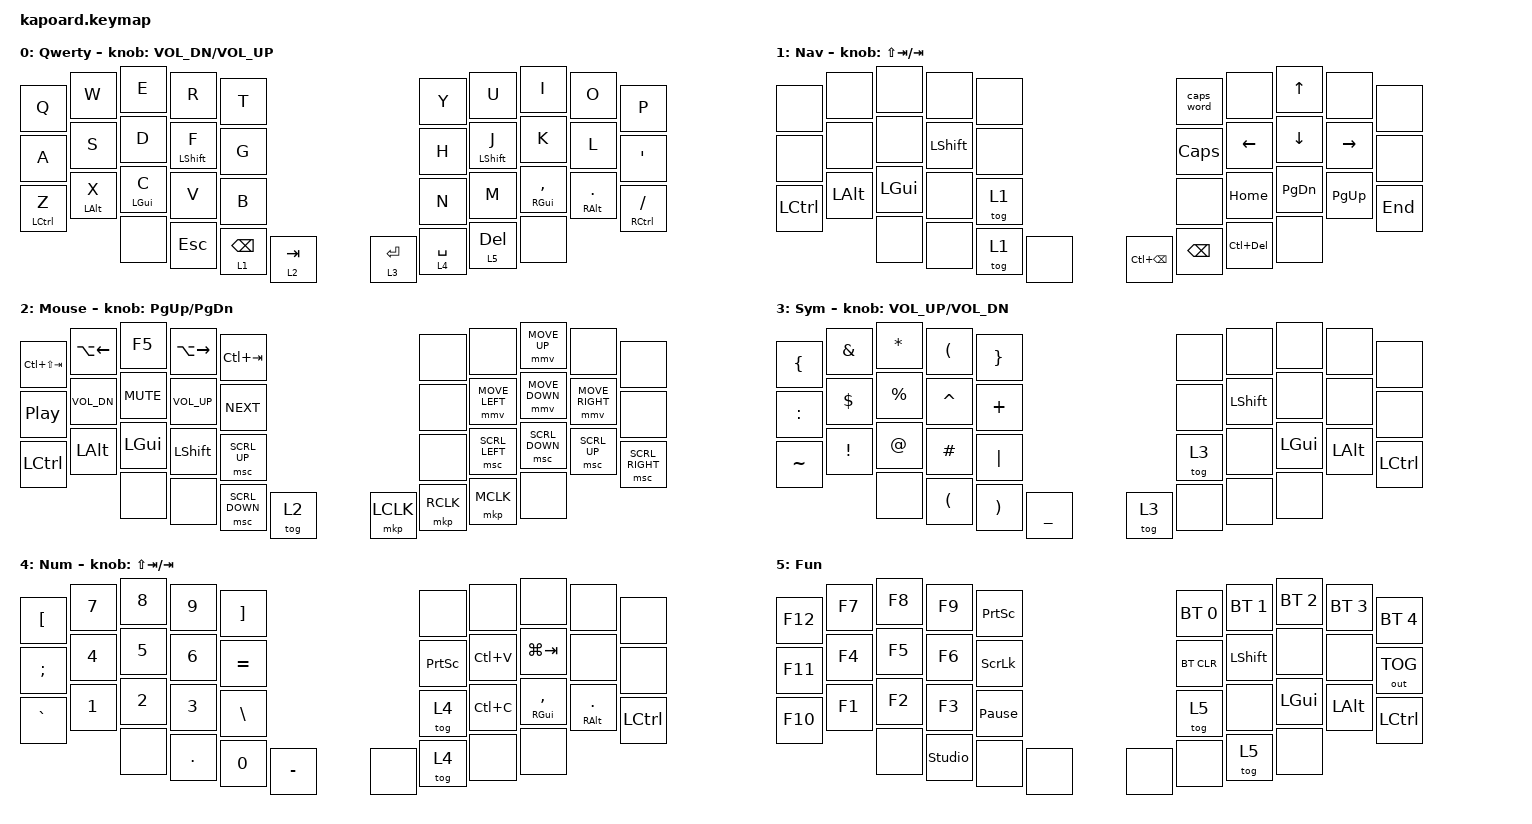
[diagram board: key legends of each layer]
/*
 * Copyright (c) 2020 The ZMK Contributors
 * SPDX-License-Identifier: MIT
 *
 * This is a QWERTY keymap for the Kapoard keyboard.
 * Last edited by Hans Lenze Kaper, 2025-01-02.
 */

#define ZMK_POINTING_DEFAULT_MOVE_VAL 1100  // default: 600
#define ZMK_POINTING_DEFAULT_SCRL_VAL 20    // default: 10

#include <behaviors.dtsi>
#include <dt-bindings/zmk/keys.h>
#include <dt-bindings/zmk/bt.h>
#include <dt-bindings/zmk/outputs.h>
#include <dt-bindings/zmk/pointing.h>

/*
 * 0  1  2  3  4       5  6  7  8  9
 * Q  W  E  R  T       Y  U  I  O  P
 * 
 * 10 11 12 13 14      15 16 17 18 19
 * A  S  D  F  G       H  J  K  L  ;
 * 
 * 20 21 22 23 24      25 26 27 28 29
 * Z  X  C  V  B       N  M  ,  .  /
 */

 / {
    combos {
        compatible = "zmk,combos";

        capsword {
            layers = <0>;
            timeout-ms = <50>;
            key-positions = <11 12 17 18>;
            bindings = <&caps_word>;
        };
        combo_esc {
            layers = <0>;
            timeout-ms = <25>;
            key-positions = <0 1>;
            bindings = <&kp ESC>;
        };
        combo_lshift {
            layers = <0>;
            timeout-ms = <25>;
            key-positions = <11 12>;
            bindings = <&sk LSHIFT>;
        };
        combo_rshift {
            layers = <0>;
            timeout-ms = <25>;
            key-positions = <17 18>;
            bindings = <&sk RSHIFT>;
        };
        combo_mouselayer {
            layers = <0 2>;
            timeout-ms = <25>;
            key-positions = <3 4>;
            bindings = <&tog 2>;
        };
        combo_navlayer {
            layers = <0 1>;
            timeout-ms = <25>;
            key-positions = <13 14>;
            bindings = <&tog 1>;
        };
        combo_funlayer {
            layers = <0 5>;
            timeout-ms = <25>;
            key-positions = <5 6>;
            bindings = <&tog 5>;
        };
    };
};

&mt {
    tapping-term-ms = <280>;
    flavor = "tap-preferred";
    require-prior-idle-ms = <180>;
    quick-tap-ms = <175>;
};

&lt {
    tapping-term-ms = <230>;
    flavor = "balanced";
    require-prior-idle-ms = <150>;
    quick-tap-ms = <175>;
};

/ {
    keymap {
        compatible = "zmk,keymap";

        default_layer {
            display-name = "Qwerty";
            bindings = <
                &kp Q          &kp W        &kp E       &kp R     &kp T           &kp Y       &kp U     &kp I           &kp O         &kp P
                &kp A          &kp S        &kp D       &mt LSHIFT F     &kp G           &kp H       &mt LSHIFT J     &kp K           &kp L         &kp SQT
                &mt LCTL Z     &mt LALT X   &mt LGUI C  &kp V     &kp B           &kp N       &kp M     &mt RGUI COMMA  &mt RALT DOT  &mt RCTL SLASH
                               &none        &kp ESC     &lt 1 BSPC      &lt 2 TAB       &lt 3 ENTER &lt 4 SPACE      &lt 5 DEL   &none
            >;
        sensor-bindings = <&inc_dec_kp C_VOL_DN C_VOL_UP>;
        };

        nav_layer {
            display-name = "Nav";
            bindings = <
                &none       &none       &none       &none       &none       &caps_word       &none       &kp UP       &none       &none 
                &none       &none       &none       &kp LSHIFT  &none       &kp CAPS    &kp LEFT    &kp DOWN     &kp RIGHT   &none
                &kp LCTL    &kp LALT    &kp LGUI    &none       &tog 1      &none       &kp HOME    &kp PG_DN    &kp PG_UP   &kp END
                                &none   &none       &tog 1       &none       &kp LC(BSPC)       &kp BSPC       &kp LC(DEL) &none
            >;
        sensor-bindings = <&inc_dec_kp LS(TAB) TAB>;
        };

        mouse_layer {
            display-name = "Mouse";
            bindings = <
                &kp LC(LS(TAB)) &kp LA(LEFT)  &kp F5      &kp LA(RIGHT)   &kp LC(TAB)  &none       &none      &mmv MOVE_UP     &none    &none 
                &kp C_PP        &kp C_VOL_DN  &kp C_MUTE  &kp C_VOL_UP    &kp C_NEXT        &none       &mmv MOVE_LEFT     &mmv MOVE_DOWN     &mmv MOVE_RIGHT   &none
                &kp LCTL        &kp LALT      &kp LGUI    &kp LSHIFT           &msc SCRL_UP       &none       &msc SCRL_LEFT     &msc SCRL_DOWN     &msc SCRL_UP   &msc SCRL_RIGHT
                                  &none       &none       &msc SCRL_DOWN           &tog 2       &mkp LCLK   &mkp RCLK  &mkp MCLK  &none
            >;
        sensor-bindings = <&inc_dec_kp PG_UP PG_DN>;
        };
        
        sym_layer {
            display-name = "Sym";
            bindings = <
                &kp LBRC    &kp AMPS   &kp STAR   &kp LPAR   &kp RBRC         &none    &none       &none    &none    &none
                &kp COLON   &kp DLLR   &kp PRCNT  &kp CARET  &kp PLUS         &none    &kp LSHIFT  &none    &none    &none
                &kp TILDE   &kp EXCL   &kp AT     &kp HASH   &kp PIPE         &tog 3    &none       &kp LGUI &kp LALT &kp LCTL
                              &none    &kp LPAR   &kp RPAR   &kp UNDER        &tog 3    &none       &none  &none
            >;
        sensor-bindings = <&inc_dec_kp C_VOL_UP C_VOL_DN>;
        };

        num_layer {
            display-name = "Num";
            bindings = <
                &kp LBKT   &kp N7   &kp N8   &kp N9   &kp RBKT         &none      &none      &none           &none         &none
                &kp SEMI   &kp N4   &kp N5   &kp N6   &kp EQUAL        &kp PSCRN  &kp LC(V)  &kp LG(TAB)     &none         &none
                &kp GRAVE  &kp N1   &kp N2   &kp N3   &kp BACKSLASH    &tog 4     &kp LC(C)  &mt RGUI COMMA  &mt RALT DOT  &kp LCTL
                           &none    &kp DOT  &kp N0   &kp MINUS        &none      &tog 4     &none   &none
            >;
        sensor-bindings = <&inc_dec_kp LS(TAB) TAB>;
        };

        func_layer {
            display-name = "Fun";
            bindings = <
                &kp F12   &kp F7  &kp F8         &kp F9     &kp PSCRN       &bt BT_SEL 0  &bt BT_SEL 1  &bt BT_SEL 2   &bt BT_SEL 3   &bt BT_SEL 4
                &kp F11   &kp F4  &kp F5         &kp F6     &kp SLCK        &bt BT_CLR    &kp LSHIFT    &none          &none          &out OUT_TOG
                &kp F10   &kp F1  &kp F2         &kp F3     &kp PAUSE_BREAK &tog 5         &none         &kp LGUI       &kp LALT       &kp LCTL
                          &none   &studio_unlock &none      &none           &none         &none         &tog 5  &none
            >;
        #sensor-bindings = <&inc_dec_kp C_VOL_UP C_VOL_DN>;
        };
    };
};
